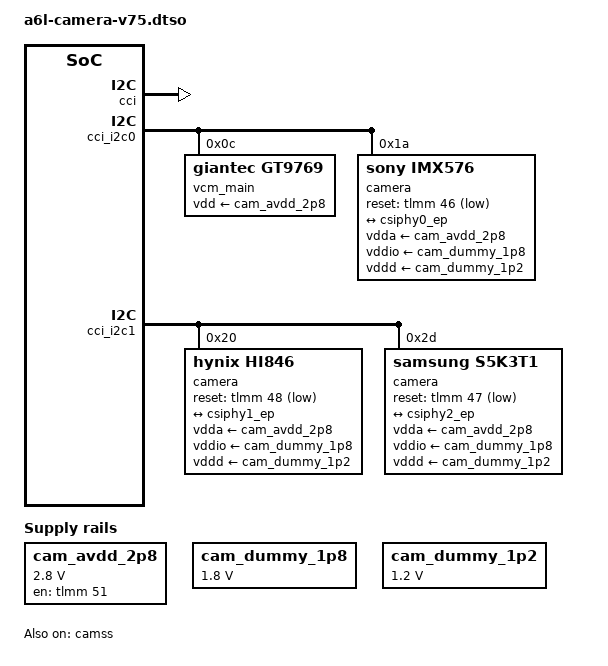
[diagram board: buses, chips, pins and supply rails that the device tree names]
// SPDX-License-Identifier: GPL-2.0-only
// A6L cameras (all three) for mainline CAMSS (qcom,sdm660-camss) + CCI. Supersedes a6l-camera-hi846-v75.dtso.
// Wiring from stock DT (qcom,cci@ca0c000 camera@0/1/2) + vendor/etc/camera/camera_config.xml + sensor libs:
//   slot0 rear main  IMX576  CCI0 0x1a  MCLK0 gpio32  reset gpio46  CSIPHY0 (CSID0)  4 lanes  VCM GT9769 CCI0 0x0c
//   slot1 rear aux   Hi-846  CCI1 0x20  MCLK2 gpio34  reset gpio48  CSIPHY1 (CSID2)  4 lanes
//   slot2 front      S5K3T1  CCI1 0x2d  MCLK1 gpio33  reset gpio47  CSIPHY2 (CSID1)  4 lanes
//   AVDD (sensors) + VAF (VCM) = one 2.8 V fixed regulator, enable gpio51, vin pm660l_bob.
//   DVDD/DOVDD are not switched by the stock kernel (board rails) -> always-on dummies here.
//   LaneMask 0x1F / LaneAssign 0x4320 for all three = straight 4-lane wiring.
// camfix 24 Sep: + CSID vdda/vdd_sec rails (stock pm660_l1 1.2 V / pm660l_l1 0.925 V).
// UNTESTED. Modules: i2c-qcom-cci, qcom-camss, imx576_a6l, s5k3t1, hi846, gt9769.
/dts-v1/;
/plugin/;
#include <dt-bindings/gpio/gpio.h>
#include <dt-bindings/clock/qcom,mmcc-sdm660.h>

&{/} {
	cam_avdd_2p8: cam-avdd-2p8 {
		compatible = "regulator-fixed";
		regulator-name = "cam_avdd_2p8";
		regulator-min-microvolt = <2800000>;
		regulator-max-microvolt = <2800000>;
		gpio = <&tlmm 51 GPIO_ACTIVE_HIGH>;
		enable-active-high;
		startup-delay-us = <1000>;
	};

	cam_dummy_1p8: cam-dummy-1p8 {
		compatible = "regulator-fixed";
		regulator-name = "cam_dovdd_board";
		regulator-min-microvolt = <1800000>;
		regulator-max-microvolt = <1800000>;
		regulator-always-on;
	};

	cam_dummy_1p2: cam-dummy-1p2 {
		compatible = "regulator-fixed";
		regulator-name = "cam_dvdd_board";
		regulator-min-microvolt = <1200000>;
		regulator-max-microvolt = <1200000>;
		regulator-always-on;
	};
};

&tlmm {
	cam_mclk0_default: cam-mclk0-default-state {
		pins = "gpio32";
		function = "cam_mclk";
		drive-strength = <2>;
		bias-disable;
	};

	cam_mclk1_default: cam-mclk1-default-state {
		pins = "gpio33";
		function = "cam_mclk";
		drive-strength = <2>;
		bias-disable;
	};

	cam_mclk2_default: cam-mclk2-default-state {
		pins = "gpio34";
		function = "cam_mclk";
		drive-strength = <2>;
		bias-disable;
	};
};

&cci {
	status = "okay";
};

&cci_i2c0 {
	#address-cells = <1>;
	#size-cells = <0>;

	vcm_main: vcm@c {
		compatible = "giantec,gt9769";
		reg = <0x0c>;
		vdd-supply = <&cam_avdd_2p8>;
	};

	camera@1a {
		compatible = "sony,imx576";
		reg = <0x1a>;
		clocks = <&mmcc CAMSS_MCLK0_CLK>;
		assigned-clocks = <&mmcc CAMSS_MCLK0_CLK>;
		assigned-clock-rates = <24000000>;
		pinctrl-names = "default";
		pinctrl-0 = <&cam_mclk0_default>;
		reset-gpios = <&tlmm 46 GPIO_ACTIVE_LOW>;
		vdda-supply = <&cam_avdd_2p8>;
		vddio-supply = <&cam_dummy_1p8>;
		vddd-supply = <&cam_dummy_1p2>;
		rotation = <90>;
		orientation = <1>;	/* back */
		lens-focus = <&vcm_main>;

		port {
			imx576_ep: endpoint {
				data-lanes = <1 2 3 4>;
				link-frequencies = /bits/ 64 <255000000 1011000000 627000000>;
				remote-endpoint = <&csiphy0_ep>;
			};
		};
	};
};

&cci_i2c1 {
	#address-cells = <1>;
	#size-cells = <0>;

	camera@20 {
		compatible = "hynix,hi846";
		reg = <0x20>;
		clocks = <&mmcc CAMSS_MCLK2_CLK>;
		assigned-clocks = <&mmcc CAMSS_MCLK2_CLK>;
		assigned-clock-rates = <24000000>;
		pinctrl-names = "default";
		pinctrl-0 = <&cam_mclk2_default>;
		reset-gpios = <&tlmm 48 GPIO_ACTIVE_LOW>;
		vdda-supply = <&cam_avdd_2p8>;
		vddio-supply = <&cam_dummy_1p8>;
		vddd-supply = <&cam_dummy_1p2>;
		rotation = <90>;
		orientation = <1>;	/* back */

		port {
			hi846_ep: endpoint {
				data-lanes = <1 2 3 4>;
				link-frequencies = /bits/ 64 <80000000 200000000>;
				remote-endpoint = <&csiphy1_ep>;
			};
		};
	};

	camera@2d {
		compatible = "samsung,s5k3t1";
		reg = <0x2d>;
		clocks = <&mmcc CAMSS_MCLK1_CLK>;
		assigned-clocks = <&mmcc CAMSS_MCLK1_CLK>;
		assigned-clock-rates = <24000000>;
		pinctrl-names = "default";
		pinctrl-0 = <&cam_mclk1_default>;
		reset-gpios = <&tlmm 47 GPIO_ACTIVE_LOW>;
		vdda-supply = <&cam_avdd_2p8>;
		vddio-supply = <&cam_dummy_1p8>;
		vddd-supply = <&cam_dummy_1p2>;
		rotation = <270>;
		orientation = <0>;	/* front */

		port {
			s5k3t1_ep: endpoint {
				data-lanes = <1 2 3 4>;
				link-frequencies = /bits/ 64 <282000000>;
				remote-endpoint = <&csiphy2_ep>;
			};
		};
	};
};

&camss {
	status = "okay";

	/*
	 * camfix 24 Sep: CSID/CSIPHY analog rails (camss: "supply vdda/vdd_sec not found").
	 * Stock qcom,csid@ca30x00: qcom,mipi-csi-vdd-supply = pm660_l1 (1.2 V, qcom,csi-vdd-voltage 1200000)
	 * and vdd_sec-supply = pm660l_l1 (925 mV). In the V74 DT: a6l_vreg_l1a = pm660 l1 (1.15-1.25 V),
	 * vreg_l1b = pm660l l1 (0.8-0.925 V). Both are RPM LDOs whose ranges are already set by the base DT.
	 */
	vdda-supply = <&a6l_vreg_l1a>;
	vdd_sec-supply = <&vreg_l1b>;

	ports {
		#address-cells = <1>;
		#size-cells = <0>;

		port@0 {
			reg = <0>;
			csiphy0_ep: endpoint {
				data-lanes = <0 1 2 3>;
				clock-lanes = <7>;
				remote-endpoint = <&imx576_ep>;
			};
		};

		port@1 {
			reg = <1>;
			csiphy1_ep: endpoint {
				data-lanes = <0 1 2 3>;
				clock-lanes = <7>;
				remote-endpoint = <&hi846_ep>;
			};
		};

		port@2 {
			reg = <2>;
			csiphy2_ep: endpoint {
				data-lanes = <0 1 2 3>;
				clock-lanes = <7>;
				remote-endpoint = <&s5k3t1_ep>;
			};
		};
	};
};
